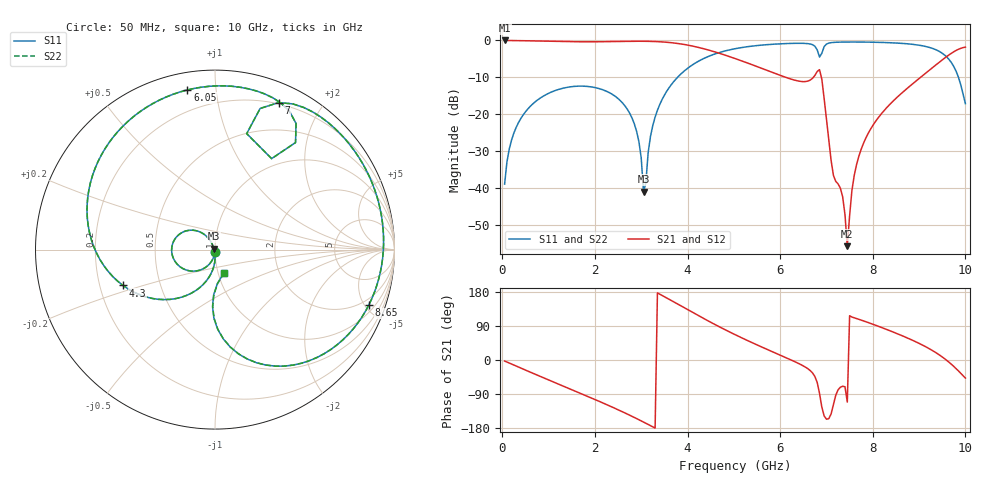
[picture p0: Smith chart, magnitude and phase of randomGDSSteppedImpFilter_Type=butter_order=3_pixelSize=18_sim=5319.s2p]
! freq	dB(S11)	phase(S11)	dB(S12)	phase(S12)
!  dB(S21)	phase(S21)	dB(S22)	phase(S22)
!S-par simulation data
#  GHz  S  DB  R 50
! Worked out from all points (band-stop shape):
!   200 points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, 50 MHz to 10 GHz, reference 50 ohm
!   highest |S21| = -0.01 dB at 50 MHz (marker M1); lowest = -55.6 dB at 7.45 GHz (marker M2)
!   |S21| within 3 dB of the highest: start of sweep to 4.567 GHz; 9.757 GHz to end of sweep
!   lowest |S11| = -40.8 dB at 3.05 GHz (marker M3), VSWR 1.02, Z = 49.3 + j0.569 ohm
!   |S11| at or under -10 dB: start of sweep to 3.782 GHz; 9.851 GHz to end of sweep
!   |S22| runs from -40.8 to -0.4 dB; largest |S21 - S12| = 0
!   S11 on the Smith chart (normalised r, x): 50 MHz: 1.00, -0.02; 4.3 GHz: 0.30, -0.17; 6.05 GHz: 0.09, +0.84; 7 GHz: 0.19, +1.51; 8.65 GHz: 1.47, -5.32; 10 GHz: 1.06, -0.29
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0.05  -38.83 -92.3  -0.01 -2.7  -0.01 -2.7  -38.83 -92.3
0.2  -26.91 -100.8  -0.03 -10.7  -0.03 -10.7  -26.91 -100.8
0.5  -19.29 -117.1  -0.09 -26.6  -0.09 -26.6  -19.29 -117.1
1.75  -12.35 178.3  -0.37 -91.2  -0.37 -91.2  -12.35 178.3
2.75  -19.65 125.4  -0.23 -145.6  -0.23 -145.6  -19.65 125.4
2.95  -27.36 116.9  -0.22 -157.6  -0.22 -157.6  -27.36 117.0
3.05  -40.82 140.6  -0.22 -163.8  -0.22 -163.8  -40.81 140.7
3.4  -17.32 -99.4  -0.36 173.7  -0.36 173.7  -17.32 -99.4
4.3  -5.19 -158.7  -2.08 112.7  -2.08 112.7  -5.19 -158.7
5.05  -2.18 154.5  -4.99 65.5  -4.99 65.5  -2.18 154.6
6.05  -0.89 99.8  -9.65 10.2  -9.65 10.2  -0.89 99.8
6.7  -1.15 61.8  -10.23 -34.3  -10.23 -34.3  -1.15 61.8
6.85  -4.48 58.1  -7.90 -87.9  -7.90 -87.9  -4.48 58.1
7  -0.99 66.6  -21.35 -156.3  -21.35 -156.3  -0.99 66.6
7.15  -0.53 54.5  -36.44 -118.0  -36.44 -118.0  -0.53 54.5
7.35  -0.44 43.0  -42.24 -69.2  -42.24 -69.2  -0.44 43.0
7.45  -0.43 37.8  -55.59 -111.1  -55.59 -111.1  -0.43 37.8
7.7  -0.43 25.5  -31.26 107.3  -31.26 107.3  -0.43 25.5
8.35  -0.61 -5.3  -17.51 78.2  -17.51 78.2  -0.61 -5.3
8.65  -0.81 -19.9  -13.96 63.3  -13.96 63.3  -0.81 -19.8
9.45  -3.07 -66.3  -5.75 12.4  -5.75 12.4  -3.06 -66.2
10  -17.07 -70.0  -1.81 -47.7  -1.81 -47.7  -17.00 -69.8
